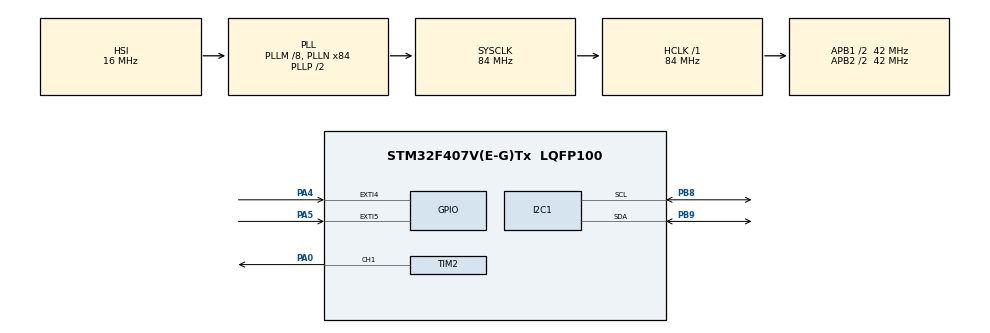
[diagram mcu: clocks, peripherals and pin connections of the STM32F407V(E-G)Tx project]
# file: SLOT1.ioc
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Mcu.Family=STM32F4
Mcu.Name=STM32F407V(E-G)Tx
Mcu.Package=LQFP100
NVIC.EXTI4_IRQn=true\:0\:0\:false\:false\:true\:true\:true\:true
NVIC.EXTI9_5_IRQn=true\:0\:0\:false\:false\:true\:true\:true\:true
NVIC.PriorityGroup=NVIC_PRIORITYGROUP_0
PA0-WKUP.Signal=S_TIM2_CH1_ETR
PA4.GPIO_ModeDefaultEXTI=GPIO_MODE_IT_FALLING
PA4.GPIO_PuPd=GPIO_NOPULL
PA4.Signal=GPXTI4
PA5.GPIO_ModeDefaultEXTI=GPIO_MODE_IT_FALLING
PA5.GPIO_PuPd=GPIO_NOPULL
PA5.Signal=GPXTI5
PB8.Mode=I2C
PB8.Signal=I2C1_SCL
PB9.Mode=I2C
PB9.Signal=I2C1_SDA
PH0-OSC_IN.Mode=HSE-External-Oscillator
PH0-OSC_IN.Signal=RCC_OSC_IN
PH1-OSC_OUT.Mode=HSE-External-Oscillator
PH1-OSC_OUT.Signal=RCC_OSC_OUT
ProjectManager.HeapSize=0x200
ProjectManager.StackSize=0x400
ProjectManager.TargetToolchain=STM32CubeIDE
RCC.48MHZClocksFreq_Value=24000000
RCC.AHBFreq_Value=84000000
RCC.APB1CLKDivider=RCC_HCLK_DIV2
RCC.APB1Freq_Value=42000000
RCC.APB1TimFreq_Value=84000000
RCC.APB2CLKDivider=RCC_HCLK_DIV2
RCC.APB2Freq_Value=42000000
RCC.APB2TimFreq_Value=84000000
RCC.CortexFreq_Value=84000000
RCC.HCLKFreq_Value=84000000
RCC.HSE_VALUE=8000000
RCC.HSI_VALUE=16000000
RCC.LSE_VALUE=32768
RCC.PLLM=8
RCC.PLLN=84
RCC.PLLQ=7
RCC.SYSCLKFreq_VALUE=84000000
RCC.SYSCLKSource=RCC_SYSCLKSOURCE_PLLCLK
RCC.VCOOutputFreq_Value=168000000
SH.S_TIM2_CH1_ETR.0=TIM2_CH1,PWM Generation1 CH1
TIM2.Channel-PWM\ Generation1\ CH1=TIM_CHANNEL_1
TIM2.Period=8400-1
TIM2.Prescaler=200-1
VP_TIM2_VS_ClockSourceINT.Mode=Internal
board=STM32F407G-DISC1

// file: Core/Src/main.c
/* USER CODE BEGIN Header */
/**
  ******************************************************************************
  * @file           : main.c
  * @brief          : Main program body
  ******************************************************************************
  * @attention
  *
  * Copyright (c) 2025 STMicroelectronics.
  * All rights reserved.
  *
  * This software is licensed under terms that can be found in the LICENSE file
  * in the root directory of this software component.
  * If no LICENSE file comes with this software, it is provided AS-IS.
  *
  ******************************************************************************
  */
/* USER CODE END Header */
#include "main.h"

/* USER CODE BEGIN Includes */
#include<stdio.h>
#include<string.h>
#include"i2c-lcd.h"

/* USER CODE END Includes */

I2C_HandleTypeDef hi2c1;

TIM_HandleTypeDef htim2;

/* USER CODE BEGIN PV */
int row = 0;
int col = 0;
int count = 3;
uint8_t in = 0;
uint8_t out = 0;
volatile uint8_t flag1 = 0;
volatile uint8_t flag2 = 0;
/* USER CODE END PV */

void SystemClock_Config(void);
static void MX_GPIO_Init(void);
static void MX_I2C1_Init(void);
static void MX_TIM2_Init(void);

/* USER CODE BEGIN 0 */
void Set_Servo_Angle(TIM_HandleTypeDef *htim, uint32_t channel, uint8_t angle)
{
	// 0degree(0.5ms) = 210 counts and 180degree(2.5ms) = 1050 counts

	uint32_t pulse_count = 210 + (angle *(1050 - 210)/ 180);
	__HAL_TIM_SET_COMPARE(htim, channel, pulse_count);
}

void HAL_GPIO_EXTI_Callback(uint16_t GPIO_Pin)
{
    if (GPIO_Pin == GPIO_PIN_4)
    {
        // PA4 triggered (IR sensor 1 detected object)
    	if(flag1 == 0)
    	{
    		flag1 = 1;
    	}

    }
    else if (GPIO_Pin == GPIO_PIN_5)
    {
        // PA5 triggered (IR sensor 2 detected object)
    	if(flag2 == 0)
    	{
    		flag2 = 1;
    	}
    }
}

/* USER CODE END 0 */

int main(void)
{

  /* MCU Configuration--------------------------------------------------------*/

  /* Reset of all peripherals, Initializes the Flash interface and the Systick. */
  HAL_Init();

  /* Configure the system clock */
  SystemClock_Config();

  /* Initialize all configured peripherals */
  MX_GPIO_Init();
  MX_I2C1_Init();
  MX_TIM2_Init();
  /* USER CODE BEGIN 2 */

  // Start PWM
    HAL_TIM_PWM_Start(&htim2, TIM_CHANNEL_1);

    //LCD init
    lcd_init();

    //Welcome Message
    lcd_put_cur(0, 0);
    lcd_send_string(" Smart Parking ");
    lcd_put_cur(1, 0);
    lcd_send_string("     System     ");
    HAL_Delay(5000);
    lcd_clear();

  /* USER CODE END 2 */

  /* Infinite loop */
  while (1)
  {

    /* USER CODE BEGIN 3 */
	  char str[32];
	  lcd_put_cur(0,0);
	  lcd_send_string("Total Slots = 3");
	  lcd_put_cur(1,0);

	 // sprintf(str,"Vacant Slots = %d",count);
	  //lcd_send_string(str);

	  if(count > 0)
	  {
		  sprintf(str,"Available = %d    \r\n",count);
		  lcd_send_string(str);

		  if(flag1 == 1)
		  {
			  Set_Servo_Angle(&htim2, TIM_CHANNEL_1, 90);
			  HAL_Delay(2000);
			  in = 1;

			  while(!(HAL_GPIO_ReadPin(GPIOA, GPIO_PIN_4) == GPIO_PIN_SET))
			  {
				  HAL_Delay(2000);
			  }

			  Set_Servo_Angle(&htim2, TIM_CHANNEL_1, 0);

			  flag1 = 0;

			  if(flag2 == 1 && in == 1)
			  {
				  count--;
				  flag2 = 0;
				  in = 0;
			  }
		  }

	  else if(flag2 == 1)
	  {
		  LABEL:
		  Set_Servo_Angle(&htim2, TIM_CHANNEL_1, 90);
		  HAL_Delay(2000);
		  out = 1;

		  while(!(HAL_GPIO_ReadPin(GPIOA, GPIO_PIN_5) == GPIO_PIN_SET))
		  {
			  HAL_Delay(2000);
		  }

		  Set_Servo_Angle(&htim2, TIM_CHANNEL_1, 0);
		  flag2 = 0;

		  if(flag1 == 1 && out ==1)
		  	  {
		  		  count++;
		  		  flag1 = 0;
		  		  out = 0;
		  	  }
	  }

	  }

	  else
	  {
		  //lcd_put_cur(0, 0);
		  //lcd_send_string("Car Slots");
		  //lcd_put_cur(1, 0);
		  if(flag2 == 1)
		  goto LABEL;
		  lcd_send_string("FULL!          ");

	  }
  }

  /* USER CODE END 3 */
}

void SystemClock_Config(void)
{
  RCC_OscInitTypeDef RCC_OscInitStruct = {0};
  RCC_ClkInitTypeDef RCC_ClkInitStruct = {0};

  /** Configure the main internal regulator output voltage
  */
  __HAL_RCC_PWR_CLK_ENABLE();
  __HAL_PWR_VOLTAGESCALING_CONFIG(PWR_REGULATOR_VOLTAGE_SCALE1);

  /** Initializes the RCC Oscillators according to the specified parameters
  * in the RCC_OscInitTypeDef structure.
  */
  RCC_OscInitStruct.OscillatorType = RCC_OSCILLATORTYPE_HSI;
  RCC_OscInitStruct.HSIState = RCC_HSI_ON;
  RCC_OscInitStruct.HSICalibrationValue = RCC_HSICALIBRATION_DEFAULT;
  RCC_OscInitStruct.PLL.PLLState = RCC_PLL_ON;
  RCC_OscInitStruct.PLL.PLLSource = RCC_PLLSOURCE_HSI;
  RCC_OscInitStruct.PLL.PLLM = 8;
  RCC_OscInitStruct.PLL.PLLN = 84;
  RCC_OscInitStruct.PLL.PLLP = RCC_PLLP_DIV2;
  RCC_OscInitStruct.PLL.PLLQ = 7;
  if (HAL_RCC_OscConfig(&RCC_OscInitStruct) != HAL_OK)
  {
    Error_Handler();
  }

  /** Initializes the CPU, AHB and APB buses clocks
  */
  RCC_ClkInitStruct.ClockType = RCC_CLOCKTYPE_HCLK|RCC_CLOCKTYPE_SYSCLK
                              |RCC_CLOCKTYPE_PCLK1|RCC_CLOCKTYPE_PCLK2;
  RCC_ClkInitStruct.SYSCLKSource = RCC_SYSCLKSOURCE_PLLCLK;
  RCC_ClkInitStruct.AHBCLKDivider = RCC_SYSCLK_DIV1;
  RCC_ClkInitStruct.APB1CLKDivider = RCC_HCLK_DIV2;
  RCC_ClkInitStruct.APB2CLKDivider = RCC_HCLK_DIV2;

  if (HAL_RCC_ClockConfig(&RCC_ClkInitStruct, FLASH_LATENCY_2) != HAL_OK)
  {
    Error_Handler();
  }
}

static void MX_I2C1_Init(void)
{

  hi2c1.Instance = I2C1;
  hi2c1.Init.ClockSpeed = 100000;
  hi2c1.Init.DutyCycle = I2C_DUTYCYCLE_2;
  hi2c1.Init.OwnAddress1 = 0;
  hi2c1.Init.AddressingMode = I2C_ADDRESSINGMODE_7BIT;
  hi2c1.Init.DualAddressMode = I2C_DUALADDRESS_DISABLE;
  hi2c1.Init.OwnAddress2 = 0;
  hi2c1.Init.GeneralCallMode = I2C_GENERALCALL_DISABLE;
  hi2c1.Init.NoStretchMode = I2C_NOSTRETCH_DISABLE;
  if (HAL_I2C_Init(&hi2c1) != HAL_OK)
  {
    Error_Handler();
  }

}

static void MX_TIM2_Init(void)
{

  TIM_ClockConfigTypeDef sClockSourceConfig = {0};
  TIM_MasterConfigTypeDef sMasterConfig = {0};
  TIM_OC_InitTypeDef sConfigOC = {0};

  htim2.Instance = TIM2;
  htim2.Init.Prescaler = 200-1;
  htim2.Init.CounterMode = TIM_COUNTERMODE_UP;
  htim2.Init.Period = 8400-1;
  htim2.Init.ClockDivision = TIM_CLOCKDIVISION_DIV1;
  htim2.Init.AutoReloadPreload = TIM_AUTORELOAD_PRELOAD_DISABLE;
  if (HAL_TIM_Base_Init(&htim2) != HAL_OK)
  {
    Error_Handler();
  }
  sClockSourceConfig.ClockSource = TIM_CLOCKSOURCE_INTERNAL;
  if (HAL_TIM_ConfigClockSource(&htim2, &sClockSourceConfig) != HAL_OK)
  {
    Error_Handler();
  }
  if (HAL_TIM_PWM_Init(&htim2) != HAL_OK)
  {
    Error_Handler();
  }
  sMasterConfig.MasterOutputTrigger = TIM_TRGO_RESET;
  sMasterConfig.MasterSlaveMode = TIM_MASTERSLAVEMODE_DISABLE;
  if (HAL_TIMEx_MasterConfigSynchronization(&htim2, &sMasterConfig) != HAL_OK)
  {
    Error_Handler();
  }
  sConfigOC.OCMode = TIM_OCMODE_PWM1;
  sConfigOC.Pulse = 0;
  sConfigOC.OCPolarity = TIM_OCPOLARITY_HIGH;
  sConfigOC.OCFastMode = TIM_OCFAST_DISABLE;
  if (HAL_TIM_PWM_ConfigChannel(&htim2, &sConfigOC, TIM_CHANNEL_1) != HAL_OK)
  {
    Error_Handler();
  }
  HAL_TIM_MspPostInit(&htim2);

}

static void MX_GPIO_Init(void)
{
  GPIO_InitTypeDef GPIO_InitStruct = {0};

  /* GPIO Ports Clock Enable */
  __HAL_RCC_GPIOH_CLK_ENABLE();
  __HAL_RCC_GPIOA_CLK_ENABLE();
  __HAL_RCC_GPIOB_CLK_ENABLE();

  /*Configure GPIO pins : PA4 PA5 */
  GPIO_InitStruct.Pin = GPIO_PIN_4|GPIO_PIN_5;
  GPIO_InitStruct.Mode = GPIO_MODE_IT_FALLING;
  GPIO_InitStruct.Pull = GPIO_NOPULL;
  HAL_GPIO_Init(GPIOA, &GPIO_InitStruct);

  /* EXTI interrupt init*/
  HAL_NVIC_SetPriority(EXTI4_IRQn, 0, 0);
  HAL_NVIC_EnableIRQ(EXTI4_IRQn);

  HAL_NVIC_SetPriority(EXTI9_5_IRQn, 0, 0);
  HAL_NVIC_EnableIRQ(EXTI9_5_IRQn);

}

void Error_Handler(void)
{
  __disable_irq();
  while (1)
  {
  }
}
